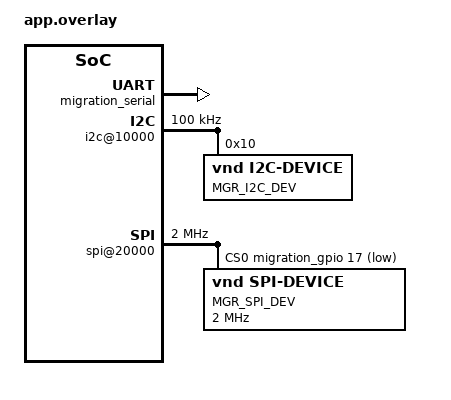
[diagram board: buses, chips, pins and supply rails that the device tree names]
/*
 * Copyright (c) 2020 Nordic Semiconductor ASA
 *
 * SPDX-License-Identifier: Apache-2.0
 *
 * Application overlay for testing the legacy devicetree macros can
 * be migrated to the devicetree.h API.
 *
 * Names in this file should be chosen in a way that won't conflict
 * with real-world devicetree nodes, to allow these tests to run on
 * (and be extended to test) real hardware.
 */
#include <dt-bindings/gpio/gpio.h>

/*
 * The "start-after..." and "end-before..." comments are because
 * this file is included in the migration HOWTO.
 */

/* start-after-here */
/ {
	aliases {
		mgr-gpio = &migration_gpio;
		mgr-serial = &migration_serial;
		mgr-i2c-dev = &mgr_i2c_device;
		mgr-spi-dev = &mgr_spi_device;
	};

	migration {
		#address-cells = <0x1>;
		#size-cells = <0x1>;
		interrupt-parent = <&migration_intc>;

		migration_gpio: gpio@1000 {
			compatible = "vnd,gpio";
			gpio-controller;
			reg = <0x1000 0x2000>;
			interrupts = <0 1>;
			#gpio-cells = <0x2>;
			label = "MGR_GPIO";
		};

		migration_serial: serial@3000 {
			compatible = "vnd,serial";
			reg = <0x3000 0x1000>;
			interrupts = <2 1>;
			label = "MGR_SERIAL";
			baud-rate = <115200>;
		};

		i2c@10000 {
			#address-cells = <1>;
			#size-cells = <0>;
			compatible = "vnd,i2c";
			reg = < 0x10000 0x1000 >;
			label = "MGR_I2C";
			clock-frequency = <100000>;
			interrupts = <10 1>;

			mgr_i2c_device: i2c-dev@10 {
				compatible = "vnd,i2c-device";
				label = "MGR_I2C_DEV";
				reg = <0x10>;
			};
		};

		spi@20000 {
			#address-cells = < 1 >;
			#size-cells = < 0 >;
			compatible = "vnd,spi";
			reg = <0x20000 0x1000>;
			interrupts = <20 1>;
			label = "MGR_SPI";
			clock-frequency = <2000000>;

			cs-gpios = <&migration_gpio 17 GPIO_ACTIVE_LOW>;

			mgr_spi_device: spi-dev@0 {
				compatible = "vnd,spi-device";
				label = "MGR_SPI_DEV";
				reg = <0>;
				spi-max-frequency = <2000000>;
			};
		};

		migration_intc: interrupt-controller@30000 {
			compatible = "vnd,intc";
			reg = <0x30000 0x1000>;
			label = "MGR_INTC";
			interrupt-controller;
			#interrupt-cells = <2>;
		};
	};
};
/* end-before-here */
